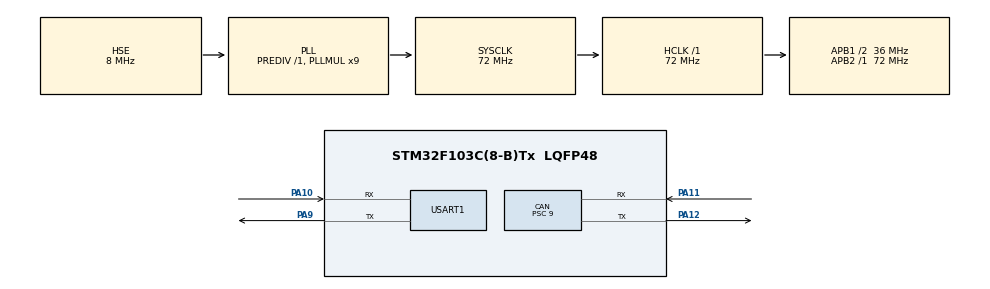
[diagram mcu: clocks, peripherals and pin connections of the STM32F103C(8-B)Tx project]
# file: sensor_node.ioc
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CAN.ABOM=ENABLE
CAN.AWUM=ENABLE
CAN.BS2=CAN_BS2_6TQ
CAN.CalculateBaudRate=500000
CAN.CalculateTimeBit=2000
CAN.CalculateTimeQuantum=250.0
CAN.Prescaler=9
Mcu.Family=STM32F1
Mcu.Name=STM32F103C(8-B)Tx
Mcu.Package=LQFP48
NVIC.CAN1_RX1_IRQn=true\:0\:0\:false\:false\:true\:true\:true\:true
NVIC.PriorityGroup=NVIC_PRIORITYGROUP_4
NVIC.TIM2_IRQn=true\:0\:0\:false\:false\:true\:true\:true\:true
PA10.Mode=Asynchronous
PA10.Signal=USART1_RX
PA11.Mode=CAN_Activate
PA11.Signal=CAN_RX
PA12.Mode=CAN_Activate
PA12.Signal=CAN_TX
PA9.Mode=Asynchronous
PA9.Signal=USART1_TX
PD0-OSC_IN.Mode=HSE-External-Oscillator
PD0-OSC_IN.Signal=RCC_OSC_IN
PD1-OSC_OUT.Mode=HSE-External-Oscillator
PD1-OSC_OUT.Signal=RCC_OSC_OUT
ProjectManager.HeapSize=0x200
ProjectManager.StackSize=0x400
ProjectManager.TargetToolchain=STM32CubeIDE
RCC.AHBFreq_Value=72000000
RCC.APB1CLKDivider=RCC_HCLK_DIV2
RCC.APB1Freq_Value=36000000
RCC.APB1TimFreq_Value=72000000
RCC.APB2Freq_Value=72000000
RCC.APB2TimFreq_Value=72000000
RCC.HCLKFreq_Value=72000000
RCC.PLLMUL=RCC_PLL_MUL9
RCC.PLLSourceVirtual=RCC_PLLSOURCE_HSE
RCC.SYSCLKFreq_VALUE=72000000
RCC.SYSCLKSource=RCC_SYSCLKSOURCE_PLLCLK
RCC.USBFreq_Value=72000000
TIM2.Prescaler=7199
USART1.VirtualMode=VM_ASYNC
VP_SYS_VS_ND.Mode=No_Debug
VP_TIM2_VS_ClockSourceINT.Mode=Internal
board=custom

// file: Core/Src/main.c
/* USER CODE BEGIN Header */
/**
  ******************************************************************************
  * @file           : main.c
  * @brief          : Main program body
  ******************************************************************************
  * @attention
  *
  * Copyright (c) 2024 STMicroelectronics.
  * All rights reserved.
  *
  * This software is licensed under terms that can be found in the LICENSE file
  * in the root directory of this software component.
  * If no LICENSE file comes with this software, it is provided AS-IS.
  *
  ******************************************************************************
  */
/* USER CODE END Header */
#include "main.h"

/* USER CODE BEGIN Includes */
#include <stdio.h>
/* USER CODE END Includes */

/* USER CODE BEGIN PD */
#define CAN_Request_ID 0x712
#define CAN_Response_ID 0x7A2

#define ReadDataByLocalIdentifier_Request_SID 0x22
#define ReadDataByLocalIdentifier_Response_SID 0x62

#define WriteDataByLocalIdentifier_Request_SID 0x2E
#define WriteDataByLocalIdentifier_Response_SID 0x6E

#define SecurityAccess_Request_SID 0x27
#define SecurityAccess_Response_SID 0x67
#define Security_SEED_level 0x01
#define Security_KEY_level 0x02

#define RecordDataIdentifier_High_Byte 0x01
#define RecordDataIdentifier_Low_Byte 0x23

#define Identifier_Negative_Response 0x7F
#define Invalid_length_or_response_format 0x13
#define Invalid_minimum_request_length 0x13
#define DID_not_support 0x31
#define Invalid_Keys 0x35

#define Countinue_State 0x00
#define Wait_State 0x01

#define SF 0b0000
#define FF 0b0001
#define CF 0b0010
#define FC 0b0011
/* USER CODE END PD */

CAN_HandleTypeDef hcan;

TIM_HandleTypeDef htim2;

UART_HandleTypeDef huart1;

/* USER CODE BEGIN PV */
CAN_RxHeaderTypeDef RxHeader;
uint8_t RxData[8];
CAN_TxHeaderTypeDef TxHeader = {
		  .StdId = CAN_Request_ID,
		  .IDE = CAN_ID_STD,
		  .RTR = CAN_RTR_DATA,
		  .DLC = 8
  };
uint8_t TxData[8];
uint32_t TxMailbox;
CAN_FilterTypeDef Filter = {
		.FilterIdHigh = 0x0000,
		.FilterIdLow = 0x0000,
		.FilterMaskIdHigh = 0x0000,
		.FilterMaskIdLow = 0x0000,
		.FilterBank = 0,
		.FilterMode = CAN_FILTERMODE_IDMASK,
		.FilterScale = CAN_FILTERSCALE_32BIT,
		.FilterFIFOAssignment = CAN_FILTER_FIFO1,
		.FilterActivation = CAN_FILTER_ENABLE
};
uint8_t SEED[4];
uint8_t KEY[16];
uint8_t SN = 0x0;
int MAX_KEY = 16;
int NEXT_KEY = 0;
int KEY_REMAIN = 0;
int Access_flag = 0;
/* USER CODE END PV */

void SystemClock_Config(void);
static void MX_GPIO_Init(void);
static void MX_CAN_Init(void);
static void MX_USART1_UART_Init(void);
static void MX_TIM2_Init(void);
/* USER CODE BEGIN PFP */
void Send_SF_Read(void)
{
	TxData[0] = (SF << 4) | 0x3;
	TxData[1] = ReadDataByLocalIdentifier_Request_SID;
	TxData[2] = RecordDataIdentifier_High_Byte;
	TxData[3] = RecordDataIdentifier_Low_Byte;
	HAL_CAN_AddTxMessage(&hcan, &TxHeader, TxData, &TxMailbox);
}

void Read_Service_Handler(void)
{
	if(RxData[2] == RecordDataIdentifier_High_Byte && RxData[3] == RecordDataIdentifier_Low_Byte)
	{
		char text[4];
		sprintf(text, "%u", RxData[4]);
		HAL_UART_Transmit(&huart1, (uint8_t*)text, 5, 100);
	}
}

void Send_SF_Write(void)
{
	if(Access_flag)
	{
		TxData[0] = (SF << 4) | 0x3;
		TxData[1] = WriteDataByLocalIdentifier_Request_SID;
		TxData[2] = RecordDataIdentifier_High_Byte;
		TxData[3] = RecordDataIdentifier_Low_Byte;
		HAL_CAN_AddTxMessage(&hcan, &TxHeader, TxData, &TxMailbox);
	}
}

void Write_Service_Handler(void)
{
	HAL_UART_Transmit(&huart1, (uint8_t*)"Write ok", 9, 100);
}

void Send_SF_Security(void)
{
	TxData[0] = (SF << 4) | 0x2;
	TxData[1] = SecurityAccess_Request_SID;
	TxData[2] = Security_SEED_level;
	HAL_CAN_AddTxMessage(&hcan, &TxHeader, TxData, &TxMailbox);
}

void Send_FF_Security(void)
{
	TxData[0] = (FF << 4) | 0x0;
	TxData[1] = 0x06;
	TxData[2] = SecurityAccess_Request_SID;
	TxData[3] = Security_SEED_level;
	TxData[4] = KEY[0];
	TxData[5] = KEY[1];
	TxData[6] = KEY[2];
	TxData[7] = KEY[3];
	HAL_CAN_AddTxMessage(&hcan, &TxHeader, TxData, &TxMailbox);
	NEXT_KEY = 4;
	KEY_REMAIN = MAX_KEY - NEXT_KEY;

}

void Send_CF_Security(void)
{
	TxData[0] = (CF << 4) | SN;
	for(int i = 1; i < KEY_REMAIN || i < 8; i++)
	{
		TxData[i] = KEY[NEXT_KEY];
		NEXT_KEY++;
	}
	HAL_CAN_AddTxMessage(&hcan, &TxHeader, TxData, &TxMailbox);
	SN += 1;
	KEY_REMAIN = MAX_KEY - NEXT_KEY;
}

void Security_Handler(void)
{
	if(RxData[2] == Security_SEED_level)
	{
		Access_flag = 0;
		SEED[0] = RxData[3];
		SEED[1] = RxData[4];
		SEED[2] = RxData[5];
		SEED[3] = RxData[6];
		KEY[0] = SEED[0] ^ SEED[1];
		KEY[1] = SEED[1] + SEED[2];
		KEY[2] = SEED[2] ^ SEED[3];
		KEY[3] = SEED[3] + SEED[0];
		KEY[4] = SEED[0] | SEED[1];
		KEY[5] = SEED[1] + SEED[2];
		KEY[6] = SEED[2] | SEED[3];
		KEY[7] = SEED[3] + SEED[0];
		KEY[8] = SEED[0] & SEED[1];
		KEY[9] = SEED[1] + SEED[2];
		KEY[10] = SEED[2] & SEED[3];
		KEY[11] = SEED[3] + SEED[0];
		KEY[12] = SEED[0] - SEED[1];
		KEY[13] = SEED[1] + SEED[2];
		KEY[14] = SEED[2] - SEED[3];
		KEY[15] = SEED[3] + SEED[0];
	}
	else if(RxData[2] == Security_KEY_level)
	{
		Access_flag = 1;
		HAL_UART_Transmit(&huart1, (uint8_t*)"Key accept", 11, 100);
	}
}

void CAN_Error_Handler(void)
{
	char text[34];
	sprintf(text, "Ma loi 0x%u\n\rtu service 0x%u", RxData[3], RxData[2]);
	HAL_UART_Transmit(&huart1, (uint8_t*)text, 31, 100);
}

void HAL_TIM_PeriodElapsedCallback(TIM_HandleTypeDef *htim)
{
	if(KEY_REMAIN > 0)
	{
		Send_CF_Security();
	}
	else
	{
		HAL_TIM_Base_Stop_IT(&htim2);
	}
}

void HAL_CAN_RxFifo1MsgPendingCallback(CAN_HandleTypeDef *hcan)
{
	if (HAL_CAN_GetRxMessage(hcan, CAN_RX_FIFO1, &RxHeader, RxData) == HAL_OK)
		  {
			  if ((RxHeader.StdId == CAN_Response_ID))
			   {
				  switch(RxData[0] >> 4)
				  {
				  case SF:
					  switch(RxData[1])
					  {
					  case ReadDataByLocalIdentifier_Response_SID:
						  Read_Service_Handler();
						  break;
					  case SecurityAccess_Response_SID:
						  Security_Handler();
						  break;
					  case WriteDataByLocalIdentifier_Response_SID:
						  Write_Service_Handler();
						  break;
					  case Identifier_Negative_Response:
						  CAN_Error_Handler();
						  break;
					  }
					  break;
				  case FF:
					  break;
				  case CF:
					  break;
				  case FC:
					  if((RxData[0] & 0b00001111) == Countinue_State)
					  {
						  TxHeader.DLC = (int)RxData[1];
						  __HAL_TIM_SET_AUTORELOAD(&htim2, (int)RxData[2]);
						  HAL_TIM_Base_Start_IT(&htim2);
					  }
					  break;
				  }
			   }
		  }
}
/* USER CODE END PFP */

int main(void)
{

  /* MCU Configuration--------------------------------------------------------*/

  /* Reset of all peripherals, Initializes the Flash interface and the Systick. */
  HAL_Init();

  /* Configure the system clock */
  SystemClock_Config();

  /* Initialize all configured peripherals */
  MX_GPIO_Init();
  MX_CAN_Init();
  MX_USART1_UART_Init();
  MX_TIM2_Init();
  /* USER CODE BEGIN 2 */
  HAL_CAN_Start(&hcan);
  HAL_CAN_ConfigFilter(&hcan, &Filter);
  HAL_CAN_ActivateNotification(&hcan, CAN_IT_RX_FIFO1_MSG_PENDING);
  /* USER CODE END 2 */

  /* Infinite loop */
  /* USER CODE BEGIN WHILE */
  while (1)
  {

	  Send_SF_Read();
	  HAL_Delay(2000);
	  Send_SF_Security();
	  HAL_Delay(2000);
	  Send_SF_Write();
	  HAL_Delay(2000);
    /* USER CODE END WHILE */

  }
}

void SystemClock_Config(void)
{
  RCC_OscInitTypeDef RCC_OscInitStruct = {0};
  RCC_ClkInitTypeDef RCC_ClkInitStruct = {0};

  /** Initializes the RCC Oscillators according to the specified parameters
  * in the RCC_OscInitTypeDef structure.
  */
  RCC_OscInitStruct.OscillatorType = RCC_OSCILLATORTYPE_HSE;
  RCC_OscInitStruct.HSEState = RCC_HSE_ON;
  RCC_OscInitStruct.HSEPredivValue = RCC_HSE_PREDIV_DIV1;
  RCC_OscInitStruct.HSIState = RCC_HSI_ON;
  RCC_OscInitStruct.PLL.PLLState = RCC_PLL_ON;
  RCC_OscInitStruct.PLL.PLLSource = RCC_PLLSOURCE_HSE;
  RCC_OscInitStruct.PLL.PLLMUL = RCC_PLL_MUL9;
  if (HAL_RCC_OscConfig(&RCC_OscInitStruct) != HAL_OK)
  {
    Error_Handler();
  }

  /** Initializes the CPU, AHB and APB buses clocks
  */
  RCC_ClkInitStruct.ClockType = RCC_CLOCKTYPE_HCLK|RCC_CLOCKTYPE_SYSCLK
                              |RCC_CLOCKTYPE_PCLK1|RCC_CLOCKTYPE_PCLK2;
  RCC_ClkInitStruct.SYSCLKSource = RCC_SYSCLKSOURCE_PLLCLK;
  RCC_ClkInitStruct.AHBCLKDivider = RCC_SYSCLK_DIV1;
  RCC_ClkInitStruct.APB1CLKDivider = RCC_HCLK_DIV2;
  RCC_ClkInitStruct.APB2CLKDivider = RCC_HCLK_DIV1;

  if (HAL_RCC_ClockConfig(&RCC_ClkInitStruct, FLASH_LATENCY_2) != HAL_OK)
  {
    Error_Handler();
  }
}

static void MX_CAN_Init(void)
{

  hcan.Instance = CAN1;
  hcan.Init.Prescaler = 9;
  hcan.Init.Mode = CAN_MODE_NORMAL;
  hcan.Init.SyncJumpWidth = CAN_SJW_1TQ;
  hcan.Init.TimeSeg1 = CAN_BS1_1TQ;
  hcan.Init.TimeSeg2 = CAN_BS2_6TQ;
  hcan.Init.TimeTriggeredMode = DISABLE;
  hcan.Init.AutoBusOff = ENABLE;
  hcan.Init.AutoWakeUp = ENABLE;
  hcan.Init.AutoRetransmission = DISABLE;
  hcan.Init.ReceiveFifoLocked = DISABLE;
  hcan.Init.TransmitFifoPriority = DISABLE;
  if (HAL_CAN_Init(&hcan) != HAL_OK)
  {
    Error_Handler();
  }

}

static void MX_TIM2_Init(void)
{

  TIM_ClockConfigTypeDef sClockSourceConfig = {0};
  TIM_MasterConfigTypeDef sMasterConfig = {0};

  htim2.Instance = TIM2;
  htim2.Init.Prescaler = 7199;
  htim2.Init.CounterMode = TIM_COUNTERMODE_UP;
  htim2.Init.Period = 65535;
  htim2.Init.ClockDivision = TIM_CLOCKDIVISION_DIV1;
  htim2.Init.AutoReloadPreload = TIM_AUTORELOAD_PRELOAD_DISABLE;
  if (HAL_TIM_Base_Init(&htim2) != HAL_OK)
  {
    Error_Handler();
  }
  sClockSourceConfig.ClockSource = TIM_CLOCKSOURCE_INTERNAL;
  if (HAL_TIM_ConfigClockSource(&htim2, &sClockSourceConfig) != HAL_OK)
  {
    Error_Handler();
  }
  sMasterConfig.MasterOutputTrigger = TIM_TRGO_RESET;
  sMasterConfig.MasterSlaveMode = TIM_MASTERSLAVEMODE_DISABLE;
  if (HAL_TIMEx_MasterConfigSynchronization(&htim2, &sMasterConfig) != HAL_OK)
  {
    Error_Handler();
  }

}

static void MX_USART1_UART_Init(void)
{

  huart1.Instance = USART1;
  huart1.Init.BaudRate = 115200;
  huart1.Init.WordLength = UART_WORDLENGTH_8B;
  huart1.Init.StopBits = UART_STOPBITS_1;
  huart1.Init.Parity = UART_PARITY_NONE;
  huart1.Init.Mode = UART_MODE_TX_RX;
  huart1.Init.HwFlowCtl = UART_HWCONTROL_NONE;
  huart1.Init.OverSampling = UART_OVERSAMPLING_16;
  if (HAL_UART_Init(&huart1) != HAL_OK)
  {
    Error_Handler();
  }

}

static void MX_GPIO_Init(void)
{

  /* GPIO Ports Clock Enable */
  __HAL_RCC_GPIOD_CLK_ENABLE();
  __HAL_RCC_GPIOA_CLK_ENABLE();

}

void Error_Handler(void)
{
  __disable_irq();
  while (1)
  {
  }
}
